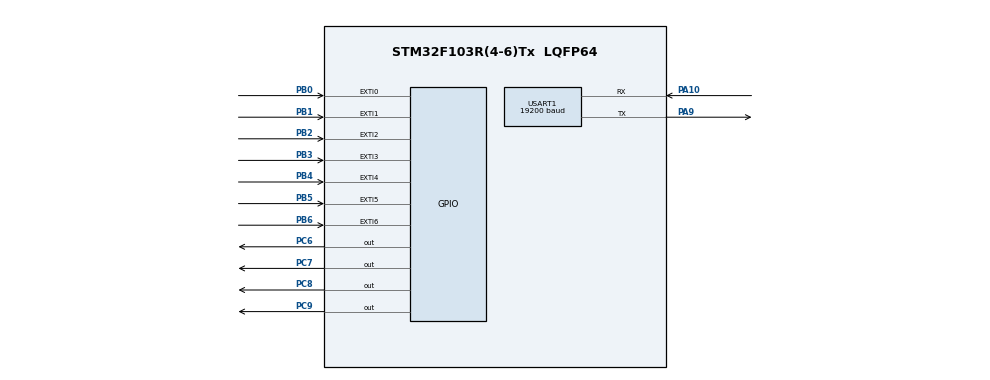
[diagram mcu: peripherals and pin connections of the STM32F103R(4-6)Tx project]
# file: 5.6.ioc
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Mcu.Family=STM32F1
Mcu.Name=STM32F103R(4-6)Tx
Mcu.Package=LQFP64
NVIC.EXTI0_IRQn=true\:0\:0\:false\:false\:true\:true\:true
NVIC.EXTI1_IRQn=true\:0\:0\:false\:false\:true\:true\:true
NVIC.EXTI2_IRQn=true\:0\:0\:false\:false\:true\:true\:true
NVIC.EXTI3_IRQn=true\:0\:0\:false\:false\:true\:true\:true
NVIC.EXTI4_IRQn=true\:0\:0\:false\:false\:true\:true\:true
NVIC.EXTI9_5_IRQn=true\:0\:0\:false\:false\:true\:true\:true
NVIC.PriorityGroup=NVIC_PRIORITYGROUP_4
NVIC.TIM3_IRQn=true\:0\:0\:false\:false\:true\:true\:true
PA10.Mode=Asynchronous
PA10.Signal=USART1_RX
PA9.Mode=Asynchronous
PA9.Signal=USART1_TX
PB0.GPIO_ModeDefaultEXTI=GPIO_MODE_IT_FALLING
PB0.GPIO_PuPd=GPIO_PULLUP
PB0.Signal=GPXTI0
PB1.GPIO_ModeDefaultEXTI=GPIO_MODE_IT_FALLING
PB1.GPIO_PuPd=GPIO_PULLUP
PB1.Signal=GPXTI1
PB2.GPIO_ModeDefaultEXTI=GPIO_MODE_IT_FALLING
PB2.GPIO_PuPd=GPIO_PULLUP
PB2.Signal=GPXTI2
PB3.GPIO_ModeDefaultEXTI=GPIO_MODE_IT_FALLING
PB3.GPIO_PuPd=GPIO_PULLUP
PB3.Signal=GPXTI3
PB4.GPIO_ModeDefaultEXTI=GPIO_MODE_IT_FALLING
PB4.GPIO_PuPd=GPIO_PULLUP
PB4.Signal=GPXTI4
PB5.GPIO_ModeDefaultEXTI=GPIO_MODE_IT_RISING_FALLING
PB5.GPIO_PuPd=GPIO_PULLUP
PB5.Signal=GPXTI5
PB6.GPIO_ModeDefaultEXTI=GPIO_MODE_IT_RISING_FALLING
PB6.GPIO_PuPd=GPIO_PULLUP
PB6.Signal=GPXTI6
PC6.GPIO_ModeDefaultOutputPP=GPIO_MODE_OUTPUT_OD
PC6.GPIO_Speed=GPIO_SPEED_FREQ_HIGH
PC6.PinState=GPIO_PIN_RESET
PC6.Signal=GPIO_Output
PC7.GPIO_ModeDefaultOutputPP=GPIO_MODE_OUTPUT_OD
PC7.GPIO_Speed=GPIO_SPEED_FREQ_HIGH
PC7.PinState=GPIO_PIN_RESET
PC7.Signal=GPIO_Output
PC8.GPIO_ModeDefaultOutputPP=GPIO_MODE_OUTPUT_OD
PC8.GPIO_Speed=GPIO_SPEED_FREQ_HIGH
PC8.PinState=GPIO_PIN_RESET
PC8.Signal=GPIO_Output
PC9.GPIO_ModeDefaultOutputPP=GPIO_MODE_OUTPUT_OD
PC9.GPIO_Speed=GPIO_SPEED_FREQ_HIGH
PC9.PinState=GPIO_PIN_RESET
PC9.Signal=GPIO_Output
ProjectManager.HeapSize=0x200
ProjectManager.StackSize=0x400
ProjectManager.TargetToolchain=STM32CubeIDE
RCC.APB1Freq_Value=8000000
RCC.APB2Freq_Value=8000000
TIM3.Period=999
TIM3.Prescaler=7999
USART1.BaudRate=19200
USART1.VirtualMode=VM_ASYNC
VP_SYS_VS_ND.Mode=No_Debug
VP_TIM3_VS_ClockSourceINT.Mode=Internal
board=custom

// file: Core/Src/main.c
/* USER CODE BEGIN Header */
/**
  ******************************************************************************
  * @file           : main.c
  * @brief          : Main program body
  ******************************************************************************
  * @attention
  *
  * <h2><center>&copy; Copyright (c) 2020 STMicroelectronics.
  * All rights reserved.</center></h2>
  *
  * This software component is licensed by ST under BSD 3-Clause license,
  * the "License"; You may not use this file except in compliance with the
  * License. You may obtain a copy of the License at:
  *                        opensource.org/licenses/BSD-3-Clause
  *
  ******************************************************************************
  */
/* USER CODE END Header */
#include "main.h"

TIM_HandleTypeDef htim3;
UART_HandleTypeDef huart1;

/* USER CODE BEGIN PV */
char rd = 'C';  //C-顺时针；A-逆时�?
uint16_t arr = 49;  //99,149,199...949,999
int StepNo=1;  //1-AB;2-BC;3-CD;4-DA
uint8_t rf=0;
/* USER CODE END PV */

void SystemClock_Config(void);
static void MX_GPIO_Init(void);
static void MX_TIM3_Init(void);
static void MX_USART1_UART_Init(void);
/* USER CODE BEGIN PFP */
void StepOut(uint8_t StepNo);
/* USER CODE END PFP */

int main(void)
{
  /* USER CODE BEGIN 1 */
	char str[4];
  /* USER CODE END 1 */

  /* MCU Configuration--------------------------------------------------------*/

  /* Reset of all peripherals, Initializes the Flash interface and the Systick. */
  HAL_Init();

  /* Configure the system clock */
  SystemClock_Config();

  /* Initialize all configured peripherals */
  MX_GPIO_Init();
  MX_TIM3_Init();
  MX_USART1_UART_Init();
  /* USER CODE BEGIN 2 */
  __HAL_TIM_SET_AUTORELOAD(&htim3,arr);
  /* USER CODE END 2 */

  /* Infinite loop */
  /* USER CODE BEGIN WHILE */
  while (1)
  {
	  if(rf==1)
	  {
		  HAL_UART_Transmit(&huart1,&"Time Interval[ms]:",18,18);
		  sprintf(str,"%d",arr);
		  HAL_UART_Transmit(&huart1,str,3,3);
		  HAL_UART_Transmit(&huart1,&"\n\r",2,2);
		  rf=0;
	  }
    /* USER CODE END WHILE */

  }
}

void SystemClock_Config(void)
{
  RCC_OscInitTypeDef RCC_OscInitStruct = {0};
  RCC_ClkInitTypeDef RCC_ClkInitStruct = {0};

  /** Initializes the RCC Oscillators according to the specified parameters
  * in the RCC_OscInitTypeDef structure.
  */
  RCC_OscInitStruct.OscillatorType = RCC_OSCILLATORTYPE_HSI;
  RCC_OscInitStruct.HSIState = RCC_HSI_ON;
  RCC_OscInitStruct.HSICalibrationValue = RCC_HSICALIBRATION_DEFAULT;
  RCC_OscInitStruct.PLL.PLLState = RCC_PLL_NONE;
  if (HAL_RCC_OscConfig(&RCC_OscInitStruct) != HAL_OK)
  {
    Error_Handler();
  }
  /** Initializes the CPU, AHB and APB buses clocks
  */
  RCC_ClkInitStruct.ClockType = RCC_CLOCKTYPE_HCLK|RCC_CLOCKTYPE_SYSCLK
                              |RCC_CLOCKTYPE_PCLK1|RCC_CLOCKTYPE_PCLK2;
  RCC_ClkInitStruct.SYSCLKSource = RCC_SYSCLKSOURCE_HSI;
  RCC_ClkInitStruct.AHBCLKDivider = RCC_SYSCLK_DIV1;
  RCC_ClkInitStruct.APB1CLKDivider = RCC_HCLK_DIV1;
  RCC_ClkInitStruct.APB2CLKDivider = RCC_HCLK_DIV1;

  if (HAL_RCC_ClockConfig(&RCC_ClkInitStruct, FLASH_LATENCY_0) != HAL_OK)
  {
    Error_Handler();
  }
}

static void MX_TIM3_Init(void)
{

  TIM_ClockConfigTypeDef sClockSourceConfig = {0};
  TIM_MasterConfigTypeDef sMasterConfig = {0};

  htim3.Instance = TIM3;
  htim3.Init.Prescaler = 7999;
  htim3.Init.CounterMode = TIM_COUNTERMODE_UP;
  htim3.Init.Period = 999;
  htim3.Init.ClockDivision = TIM_CLOCKDIVISION_DIV1;
  htim3.Init.AutoReloadPreload = TIM_AUTORELOAD_PRELOAD_DISABLE;
  if (HAL_TIM_Base_Init(&htim3) != HAL_OK)
  {
    Error_Handler();
  }
  sClockSourceConfig.ClockSource = TIM_CLOCKSOURCE_INTERNAL;
  if (HAL_TIM_ConfigClockSource(&htim3, &sClockSourceConfig) != HAL_OK)
  {
    Error_Handler();
  }
  sMasterConfig.MasterOutputTrigger = TIM_TRGO_RESET;
  sMasterConfig.MasterSlaveMode = TIM_MASTERSLAVEMODE_DISABLE;
  if (HAL_TIMEx_MasterConfigSynchronization(&htim3, &sMasterConfig) != HAL_OK)
  {
    Error_Handler();
  }

}

static void MX_USART1_UART_Init(void)
{

  huart1.Instance = USART1;
  huart1.Init.BaudRate = 19200;
  huart1.Init.WordLength = UART_WORDLENGTH_8B;
  huart1.Init.StopBits = UART_STOPBITS_1;
  huart1.Init.Parity = UART_PARITY_NONE;
  huart1.Init.Mode = UART_MODE_TX_RX;
  huart1.Init.HwFlowCtl = UART_HWCONTROL_NONE;
  huart1.Init.OverSampling = UART_OVERSAMPLING_16;
  if (HAL_UART_Init(&huart1) != HAL_OK)
  {
    Error_Handler();
  }

}

static void MX_GPIO_Init(void)
{
  GPIO_InitTypeDef GPIO_InitStruct = {0};

  /* GPIO Ports Clock Enable */
  __HAL_RCC_GPIOB_CLK_ENABLE();
  __HAL_RCC_GPIOC_CLK_ENABLE();
  __HAL_RCC_GPIOA_CLK_ENABLE();

  /*Configure GPIO pin Output Level */
  HAL_GPIO_WritePin(GPIOC, GPIO_PIN_6|GPIO_PIN_7|GPIO_PIN_8|GPIO_PIN_9, GPIO_PIN_RESET);

  /*Configure GPIO pins : PB0 PB1 PB2 PB3
                           PB4 */
  GPIO_InitStruct.Pin = GPIO_PIN_0|GPIO_PIN_1|GPIO_PIN_2|GPIO_PIN_3
                          |GPIO_PIN_4;
  GPIO_InitStruct.Mode = GPIO_MODE_IT_FALLING;
  GPIO_InitStruct.Pull = GPIO_PULLUP;
  HAL_GPIO_Init(GPIOB, &GPIO_InitStruct);

  /*Configure GPIO pins : PC6 PC7 PC8 PC9 */
  GPIO_InitStruct.Pin = GPIO_PIN_6|GPIO_PIN_7|GPIO_PIN_8|GPIO_PIN_9;
  GPIO_InitStruct.Mode = GPIO_MODE_OUTPUT_OD;
  GPIO_InitStruct.Pull = GPIO_NOPULL;
  GPIO_InitStruct.Speed = GPIO_SPEED_FREQ_HIGH;
  HAL_GPIO_Init(GPIOC, &GPIO_InitStruct);

  /*Configure GPIO pins : PB5 PB6 */
  GPIO_InitStruct.Pin = GPIO_PIN_5|GPIO_PIN_6;
  GPIO_InitStruct.Mode = GPIO_MODE_IT_RISING_FALLING;
  GPIO_InitStruct.Pull = GPIO_PULLUP;
  HAL_GPIO_Init(GPIOB, &GPIO_InitStruct);

  /* EXTI interrupt init*/
  HAL_NVIC_SetPriority(EXTI0_IRQn, 0, 0);
  HAL_NVIC_EnableIRQ(EXTI0_IRQn);

  HAL_NVIC_SetPriority(EXTI1_IRQn, 0, 0);
  HAL_NVIC_EnableIRQ(EXTI1_IRQn);

  HAL_NVIC_SetPriority(EXTI2_IRQn, 0, 0);
  HAL_NVIC_EnableIRQ(EXTI2_IRQn);

  HAL_NVIC_SetPriority(EXTI3_IRQn, 0, 0);
  HAL_NVIC_EnableIRQ(EXTI3_IRQn);

  HAL_NVIC_SetPriority(EXTI4_IRQn, 0, 0);
  HAL_NVIC_EnableIRQ(EXTI4_IRQn);

  HAL_NVIC_SetPriority(EXTI9_5_IRQn, 0, 0);
  HAL_NVIC_EnableIRQ(EXTI9_5_IRQn);

}

/* USER CODE BEGIN 4 */
void StepOut(uint8_t StepNo)
{
	if     (StepNo==1)
	{
		HAL_GPIO_WritePin(GPIOC, GPIO_PIN_8|GPIO_PIN_9, GPIO_PIN_RESET);
		HAL_GPIO_WritePin(GPIOC, GPIO_PIN_6|GPIO_PIN_7, GPIO_PIN_SET);
	}
	else if(StepNo==2)
	{
		HAL_GPIO_WritePin(GPIOC, GPIO_PIN_6|GPIO_PIN_9, GPIO_PIN_RESET);
		HAL_GPIO_WritePin(GPIOC, GPIO_PIN_7|GPIO_PIN_8, GPIO_PIN_SET);
	}
	else if(StepNo==3)
	{
		HAL_GPIO_WritePin(GPIOC, GPIO_PIN_6|GPIO_PIN_7, GPIO_PIN_RESET);
		HAL_GPIO_WritePin(GPIOC, GPIO_PIN_8|GPIO_PIN_9, GPIO_PIN_SET);
	}
	else if(StepNo==4)
	{
		HAL_GPIO_WritePin(GPIOC, GPIO_PIN_7|GPIO_PIN_8, GPIO_PIN_RESET);
		HAL_GPIO_WritePin(GPIOC, GPIO_PIN_9|GPIO_PIN_6, GPIO_PIN_SET);
	}
}

void HAL_TIM_PeriodElapsedCallback (TIM_HandleTypeDef *htim)
{

	if(htim==&htim3)
	{
		if(rd=='C')
		{
			StepNo++;
			if(StepNo>4)StepNo=1;
			StepOut(StepNo);
		}
		else if(rd=='A')
		{
			StepNo--;
			if(StepNo<0)StepNo=4;
			StepOut(StepNo);
		}
	}
}

void HAL_GPIO_EXTI_Callback(uint16_t GPIO_Pin)
{
	if     (GPIO_Pin==GPIO_PIN_0)
	{
		rd='C';
		HAL_TIM_Base_Start_IT(&htim3);
		StepOut(StepNo);
		rf=1;
	}
	else if(GPIO_Pin==GPIO_PIN_1)
	{
		rd='A';
		HAL_TIM_Base_Start_IT(&htim3);
		StepOut(StepNo);
		rf=1;
	}
	else if(GPIO_Pin==GPIO_PIN_2)
	{
		HAL_TIM_Base_Stop(&htim3);
	}
	else if(GPIO_Pin==GPIO_PIN_3)
	{
		if(arr>49)arr-=50;
		__HAL_TIM_SET_AUTORELOAD(&htim3,arr);
		rf=1;
	}
	else if(GPIO_Pin==GPIO_PIN_4)
	{
		if(arr<999)arr+=50;
		__HAL_TIM_SET_AUTORELOAD(&htim3,arr);
		rf=1;
	}
	else if(GPIO_Pin==GPIO_PIN_5)
	{
		if(HAL_GPIO_ReadPin(GPIOB,GPIO_PIN_5)==GPIO_PIN_RESET)  //�?测下降沿
		{
			rd='C';
			HAL_TIM_Base_Start_IT(&htim3);
			StepOut(StepNo);
			rf=1;
		}
		else  //�?测上升沿
		{
			HAL_TIM_Base_Stop(&htim3);
		}
	}
	else if(GPIO_Pin==GPIO_PIN_6)
	{
		if(HAL_GPIO_ReadPin(GPIOB,GPIO_PIN_6)==GPIO_PIN_RESET)  //�?测下降沿
		{
			rd='A';
			HAL_TIM_Base_Start_IT(&htim3);
			StepOut(StepNo);
			rf=1;
		}
		else  //�?测上升沿
		{
			HAL_TIM_Base_Stop(&htim3);
		}
	}
}
/* USER CODE END 4 */

void Error_Handler(void)
{
}

/************************ (C) COPYRIGHT STMicroelectronics *****END OF FILE****/
